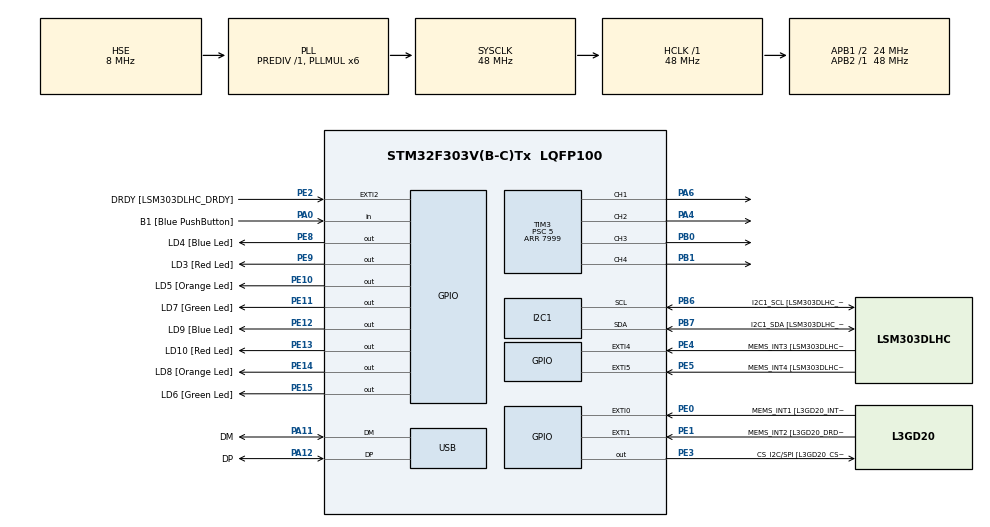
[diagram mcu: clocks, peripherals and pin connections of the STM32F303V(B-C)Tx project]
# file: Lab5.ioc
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I2C1.Timing=0x00201D2B
I2C1.Timing-I2C=0x2000090E
Mcu.Family=STM32F3
Mcu.Name=STM32F303V(B-C)Tx
Mcu.Package=LQFP100
NVIC.PriorityGroup=NVIC_PRIORITYGROUP_0
NVIC.TIM3_IRQn=true\:0\:0\:false\:false\:true\:true\:true\:true
PA0.GPIO_Label=B1 [Blue PushButton]
PA0.Signal=GPIO_Input
PA11.GPIO_Label=DM
PA11.Mode=Device
PA11.Signal=USB_DM
PA12.GPIO_Label=DP
PA12.Mode=Device
PA12.Signal=USB_DP
PA13.GPIO_Label=SWDIO
PA13.Mode=Serial_Wire
PA13.Signal=SYS_JTMS-SWDIO
PA14.GPIO_Label=SWCLK
PA14.Mode=Serial_Wire
PA14.Signal=SYS_JTCK-SWCLK
PA4.Signal=S_TIM3_CH2
PA5.GPIO_Label=SPI1_SCK [L3GD20_SCL/SPC]
PA5.Signal=SPI1_SCK
PA6.Signal=S_TIM3_CH1
PA7.GPIO_Label=SPI1_MISO [L3GD20_SDA/SDI/SDO]
PA7.Signal=SPI1_MOSI
PB0.Signal=S_TIM3_CH3
PB1.Signal=S_TIM3_CH4
PB3.GPIO_Label=SWO
PB3.Signal=SYS_JTDO-TRACESWO
PB6.GPIO_Label=I2C1_SCL [LSM303DLHC_SCL]
PB6.GPIO_Pu=GPIO_PULLUP
PB6.Mode=I2C
PB6.Signal=I2C1_SCL
PB7.GPIO_Label=I2C1_SDA [LSM303DLHC_SDA]
PB7.GPIO_Pu=GPIO_PULLUP
PB7.Mode=I2C
PB7.Signal=I2C1_SDA
PC14-OSC32_IN.GPIO_Label=OSC32_IN
PC14-OSC32_IN.Signal=RCC_OSC32_IN
PC15-OSC32_OUT.GPIO_Label=OSC32_OUT
PC15-OSC32_OUT.Signal=RCC_OSC32_OUT
PE0.GPIO_Label=MEMS_INT1 [L3GD20_INT1]
PE0.GPIO_ModeDefaultEXTI=GPIO_MODE_EVT_RISING
PE0.Signal=GPXTI0
PE1.GPIO_Label=MEMS_INT2 [L3GD20_DRDY/INT2]
PE1.GPIO_ModeDefaultEXTI=GPIO_MODE_EVT_RISING
PE1.Signal=GPXTI1
PE10.GPIO_Label=LD5 [Orange Led]
PE10.Signal=GPIO_Output
PE11.GPIO_Label=LD7 [Green Led]
PE11.Signal=GPIO_Output
PE12.GPIO_Label=LD9 [Blue Led]
PE12.Signal=GPIO_Output
PE13.GPIO_Label=LD10 [Red Led]
PE13.Signal=GPIO_Output
PE14.GPIO_Label=LD8 [Orange Led]
PE14.Signal=GPIO_Output
PE15.GPIO_Label=LD6 [Green Led]
PE15.Signal=GPIO_Output
PE2.GPIO_Label=DRDY [LSM303DLHC_DRDY]
PE2.GPIO_ModeDefaultEXTI=GPIO_MODE_EVT_RISING
PE2.Signal=GPXTI2
PE3.GPIO_Label=CS_I2C/SPI [L3GD20_CS_I2C/SPI]
PE3.Signal=GPIO_Output
PE4.GPIO_Label=MEMS_INT3 [LSM303DLHC_INT1]
PE4.GPIO_ModeDefaultEXTI=GPIO_MODE_EVT_RISING
PE4.Signal=GPXTI4
PE5.GPIO_Label=MEMS_INT4 [LSM303DLHC_INT2]
PE5.GPIO_ModeDefaultEXTI=GPIO_MODE_EVT_RISING
PE5.Signal=GPXTI5
PE8.GPIO_Label=LD4 [Blue Led]
PE8.Signal=GPIO_Output
PE9.GPIO_Label=LD3 [Red Led]
PE9.Signal=GPIO_Output
PF0-OSC_IN.GPIO_Label=OSC_IN
PF0-OSC_IN.Mode=HSE-External-Clock-Source
PF0-OSC_IN.Signal=RCC_OSC_IN
PF1-OSC_OUT.GPIO_Label=OSC_OUT
PF1-OSC_OUT.Signal=RCC_OSC_OUT
ProjectManager.HeapSize=0x200
ProjectManager.StackSize=0x400
ProjectManager.TargetToolchain=CMake
RCC.AHBFreq_Value=48000000
RCC.APB1CLKDivider=RCC_HCLK_DIV2
RCC.APB1Freq_Value=24000000
RCC.APB1TimFreq_Value=48000000
RCC.APB2Freq_Value=48000000
RCC.APB2TimFreq_Value=48000000
RCC.CortexFreq_Value=48000000
RCC.HCLKFreq_Value=48000000
RCC.HSE_VALUE=8000000
RCC.HSI_VALUE=8000000
RCC.LSE_VALUE=32768
RCC.PLLMUL=RCC_PLL_MUL6
RCC.SYSCLKFreq_VALUE=48000000
RCC.SYSCLKSourceVirtual=RCC_SYSCLKSOURCE_PLLCLK
RCC.USBFreq_Value=48000000
SH.S_TIM3_CH1.0=TIM3_CH1,PWM Generation1 CH1
SH.S_TIM3_CH2.0=TIM3_CH2,PWM Generation2 CH2
SH.S_TIM3_CH3.0=TIM3_CH3,PWM Generation3 CH3
SH.S_TIM3_CH4.0=TIM3_CH4,PWM Generation4 CH4
TIM3.Channel-PWM\ Generation1\ CH1=TIM_CHANNEL_1
TIM3.Channel-PWM\ Generation2\ CH2=TIM_CHANNEL_2
TIM3.Channel-PWM\ Generation3\ CH3=TIM_CHANNEL_3
TIM3.Channel-PWM\ Generation4\ CH4=TIM_CHANNEL_4
TIM3.Period=7999
TIM3.Prescaler=5
board=STM32F3DISCOVERY

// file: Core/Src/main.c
/* USER CODE BEGIN Header */
/**
  ******************************************************************************
  * @file           : main.c
  * @brief          : Lab 5 Task 1 - LED Brightness Control using PWM
  *
  * Lab 5 Task 1: LED Brightness Control
  * Objective: Use PWM to fade an LED in and out
  *
  * Hardware Setup:
  * - LED Anode → PA6 (TIM3_CH1) through 100-220Ω resistor
  * - LED Cathode → GND
  *
  * PWM Configuration:
  * - Frequency: ~1.5 kHz (above flicker perception)
  * - Prescaler: 5
  * - Period (ARR): 7999
  * - Duty Cycle Range: 0-7999
  *
  ******************************************************************************
  */
/* USER CODE END Header */

#include "main.h"

/* USER CODE BEGIN Includes */
#include <stdio.h>
#include <string.h>

/* USER CODE END Includes */

/* USER CODE BEGIN PD */

// PWM Parameters
#define PWM_MAX_VALUE    7999    // Maximum PWM value (ARR value)
#define PWM_MIN_VALUE    0       // Minimum PWM value
#define FADE_STEP        50      // Step size for fading (adjust for smooth fade)
#define FADE_DELAY_MS    5       // Delay between steps in milliseconds

// LED Configuration
#define LED_CHANNEL_RED    TIM_CHANNEL_1  // PA6
#define LED_CHANNEL_GREEN  TIM_CHANNEL_2  // PA7
#define LED_CHANNEL_BLUE   TIM_CHANNEL_3  // PB0

/* USER CODE END PD */

I2C_HandleTypeDef hi2c1;

TIM_HandleTypeDef htim3;

PCD_HandleTypeDef hpcd_USB_FS;

/* USER CODE BEGIN PV */

// LED Fading Control Variables
static uint16_t led_pwm_value = PWM_MIN_VALUE;
static int16_t fade_direction = 1;  // 1 = increasing, -1 = decreasing

/* USER CODE END PV */

void SystemClock_Config(void);
static void MX_GPIO_Init(void);
static void MX_I2C1_Init(void);
static void MX_TIM3_Init(void);
static void MX_USB_PCD_Init(void);

/* USER CODE BEGIN PFP */

/**
 * @brief Initialize LED PWM
 * @retval None
 */
void LED_PWM_Init(void);

/**
 * @brief Fade LED in and out (Polling Method)
 * @retval None
 */
void LED_Fade_Polling(void);

/**
 * @brief Fade LED in and out (Interrupt Method)
 * @retval None
 */
void LED_Fade_Interrupt(void);

/**
 * @brief Set LED brightness (0-7999)
 * @param value: PWM value (0 = off, 7999 = full brightness)
 * @retval None
 */
void LED_SetBrightness(uint16_t value);

/* USER CODE END PFP */

/* USER CODE BEGIN 0 */

/**
 * @brief Initialize LED PWM
 * Start PWM generation on LED channel (PA6 - TIM3 Channel 1)
 */
void LED_PWM_Init(void)
{
    // Start PWM on Channel 1 (Red LED on PA6)
    HAL_TIM_PWM_Start(&htim3, LED_CHANNEL_RED);

    // Optional: Start additional LED channels for RGB control
    HAL_TIM_PWM_Start(&htim3, LED_CHANNEL_GREEN);
    HAL_TIM_PWM_Start(&htim3, LED_CHANNEL_BLUE);

    // Initialize with minimum brightness
    LED_SetBrightness(PWM_MIN_VALUE);
}

/**
 * @brief Set LED brightness using PWM
 * @param value: PWM value (0-7999)
 */
void LED_SetBrightness(uint16_t value)
{
    // Clamp value to valid range
    if (value > PWM_MAX_VALUE)
        value = PWM_MAX_VALUE;

    // Update the PWM compare register for Channel 1
    __HAL_TIM_SET_COMPARE(&htim3, LED_CHANNEL_RED, value);
}

/**
 * @brief Fade LED in and out using polling method
 * This method uses blocking delays and simple loops
 */
void LED_Fade_Polling(void)
{
    // Fade IN: Increase brightness from 0% to 100%
    for (uint16_t pwm = PWM_MIN_VALUE; pwm <= PWM_MAX_VALUE; pwm += FADE_STEP)
    {
        LED_SetBrightness(pwm);
        HAL_Delay(FADE_DELAY_MS);
    }

    // Ensure we reach maximum
    LED_SetBrightness(PWM_MAX_VALUE);
    HAL_Delay(100);  // Hold at max brightness for 100ms

    // Fade OUT: Decrease brightness from 100% to 0%
    for (uint16_t pwm = PWM_MAX_VALUE; pwm >= PWM_MIN_VALUE; pwm -= FADE_STEP)
    {
        LED_SetBrightness(pwm);
        HAL_Delay(FADE_DELAY_MS);
    }

    // Ensure we reach minimum
    LED_SetBrightness(PWM_MIN_VALUE);
    HAL_Delay(100);  // Hold at min brightness for 100ms
}

/**
 * @brief Fade LED in and out using interrupt method
 * This method uses timer interrupts for non-blocking operation
 */
void LED_Fade_Interrupt(void)
{
    // Start the timer with interrupt
    HAL_TIM_Base_Start_IT(&htim3);

    // The actual fading happens in the callback:
    // HAL_TIM_PeriodElapsedCallback() below
}

/* USER CODE END 0 */

int main(void)
{

  /* MCU Configuration--------------------------------------------------------*/

  /* Reset of all peripherals, Initializes the Flash interface and the Systick. */
  HAL_Init();

  /* Configure the system clock */
  SystemClock_Config();

  /* Initialize all configured peripherals */
  MX_GPIO_Init();
  MX_I2C1_Init();
  MX_TIM3_Init();
  MX_USB_PCD_Init();

  /* USER CODE BEGIN 2 */

  // Initialize LED PWM
  LED_PWM_Init();

  /* USER CODE END 2 */

  /* Infinite loop */
  while (1)
  {

    /* USER CODE BEGIN 3 */

    // METHOD 1: Polling-based fading (Simple, blocking)
    LED_Fade_Polling();

    // Optional: Add delay between fade cycles
    HAL_Delay(500);

    // METHOD 2: Uncomment below for interrupt-based fading
    // Uncomment the HAL_TIM_Base_Start_IT(&htim3); in LED_Fade_Interrupt()
    // LED_Fade_Interrupt();
    // while(1) { /* Fading happens in background */ }

  }
  /* USER CODE END 3 */
}

void SystemClock_Config(void)
{
  RCC_OscInitTypeDef RCC_OscInitStruct = {0};
  RCC_ClkInitTypeDef RCC_ClkInitStruct = {0};
  RCC_PeriphCLKInitTypeDef PeriphClkInit = {0};

  /** Initializes the RCC Oscillators according to the specified parameters
  * in the RCC_OscInitTypeDef structure.
  */
  RCC_OscInitStruct.OscillatorType = RCC_OSCILLATORTYPE_HSI|RCC_OSCILLATORTYPE_HSE;
  RCC_OscInitStruct.HSEState = RCC_HSE_BYPASS;
  RCC_OscInitStruct.HSEPredivValue = RCC_HSE_PREDIV_DIV1;
  RCC_OscInitStruct.HSIState = RCC_HSI_ON;
  RCC_OscInitStruct.HSICalibrationValue = RCC_HSICALIBRATION_DEFAULT;
  RCC_OscInitStruct.PLL.PLLState = RCC_PLL_ON;
  RCC_OscInitStruct.PLL.PLLSource = RCC_PLLSOURCE_HSE;
  RCC_OscInitStruct.PLL.PLLMUL = RCC_PLL_MUL6;
  if (HAL_RCC_OscConfig(&RCC_OscInitStruct) != HAL_OK)
  {
    Error_Handler();
  }

  /** Initializes the CPU, AHB and APB buses clocks
  */
  RCC_ClkInitStruct.ClockType = RCC_CLOCKTYPE_HCLK|RCC_CLOCKTYPE_SYSCLK
                              |RCC_CLOCKTYPE_PCLK1|RCC_CLOCKTYPE_PCLK2;
  RCC_ClkInitStruct.SYSCLKSource = RCC_SYSCLKSOURCE_PLLCLK;
  RCC_ClkInitStruct.AHBCLKDivider = RCC_SYSCLK_DIV1;
  RCC_ClkInitStruct.APB1CLKDivider = RCC_HCLK_DIV2;
  RCC_ClkInitStruct.APB2CLKDivider = RCC_HCLK_DIV1;

  if (HAL_RCC_ClockConfig(&RCC_ClkInitStruct, FLASH_LATENCY_1) != HAL_OK)
  {
    Error_Handler();
  }
  PeriphClkInit.PeriphClockSelection = RCC_PERIPHCLK_USB|RCC_PERIPHCLK_I2C1;
  PeriphClkInit.I2c1ClockSelection = RCC_I2C1CLKSOURCE_HSI;
  PeriphClkInit.USBClockSelection = RCC_USBCLKSOURCE_PLL;
  if (HAL_RCCEx_PeriphCLKConfig(&PeriphClkInit) != HAL_OK)
  {
    Error_Handler();
  }
}

static void MX_I2C1_Init(void)
{

  hi2c1.Instance = I2C1;
  hi2c1.Init.Timing = 0x2000090E;
  hi2c1.Init.OwnAddress1 = 0;
  hi2c1.Init.AddressingMode = I2C_ADDRESSINGMODE_7BIT;
  hi2c1.Init.DualAddressMode = I2C_DUALADDRESS_DISABLE;
  hi2c1.Init.OwnAddress2 = 0;
  hi2c1.Init.OwnAddress2Masks = I2C_OA2_NOMASK;
  hi2c1.Init.GeneralCallMode = I2C_GENERALCALL_DISABLE;
  hi2c1.Init.NoStretchMode = I2C_NOSTRETCH_DISABLE;
  if (HAL_I2C_Init(&hi2c1) != HAL_OK)
  {
    Error_Handler();
  }

  /** Configure Analogue filter
  */
  if (HAL_I2CEx_ConfigAnalogFilter(&hi2c1, I2C_ANALOGFILTER_ENABLE) != HAL_OK)
  {
    Error_Handler();
  }

  /** Configure Digital filter
  */
  if (HAL_I2CEx_ConfigDigitalFilter(&hi2c1, 0) != HAL_OK)
  {
    Error_Handler();
  }

}

static void MX_TIM3_Init(void)
{

  TIM_MasterConfigTypeDef sMasterConfig = {0};
  TIM_OC_InitTypeDef sConfigOC = {0};

  htim3.Instance = TIM3;
  htim3.Init.Prescaler = 5;
  htim3.Init.CounterMode = TIM_COUNTERMODE_UP;
  htim3.Init.Period = 7999;
  htim3.Init.ClockDivision = TIM_CLOCKDIVISION_DIV1;
  htim3.Init.AutoReloadPreload = TIM_AUTORELOAD_PRELOAD_DISABLE;
  if (HAL_TIM_PWM_Init(&htim3) != HAL_OK)
  {
    Error_Handler();
  }
  sMasterConfig.MasterOutputTrigger = TIM_TRGO_RESET;
  sMasterConfig.MasterSlaveMode = TIM_MASTERSLAVEMODE_DISABLE;
  if (HAL_TIMEx_MasterConfigSynchronization(&htim3, &sMasterConfig) != HAL_OK)
  {
    Error_Handler();
  }
  sConfigOC.OCMode = TIM_OCMODE_PWM1;
  sConfigOC.Pulse = 0;
  sConfigOC.OCPolarity = TIM_OCPOLARITY_HIGH;
  sConfigOC.OCFastMode = TIM_OCFAST_DISABLE;
  if (HAL_TIM_PWM_ConfigChannel(&htim3, &sConfigOC, TIM_CHANNEL_1) != HAL_OK)
  {
    Error_Handler();
  }
  if (HAL_TIM_PWM_ConfigChannel(&htim3, &sConfigOC, TIM_CHANNEL_2) != HAL_OK)
  {
    Error_Handler();
  }
  if (HAL_TIM_PWM_ConfigChannel(&htim3, &sConfigOC, TIM_CHANNEL_3) != HAL_OK)
  {
    Error_Handler();
  }
  if (HAL_TIM_PWM_ConfigChannel(&htim3, &sConfigOC, TIM_CHANNEL_4) != HAL_OK)
  {
    Error_Handler();
  }
  HAL_TIM_MspPostInit(&htim3);

}

static void MX_USB_PCD_Init(void)
{

  hpcd_USB_FS.Instance = USB;
  hpcd_USB_FS.Init.dev_endpoints = 8;
  hpcd_USB_FS.Init.speed = PCD_SPEED_FULL;
  hpcd_USB_FS.Init.phy_itface = PCD_PHY_EMBEDDED;
  hpcd_USB_FS.Init.low_power_enable = DISABLE;
  hpcd_USB_FS.Init.battery_charging_enable = DISABLE;
  if (HAL_PCD_Init(&hpcd_USB_FS) != HAL_OK)
  {
    Error_Handler();
  }

}

static void MX_GPIO_Init(void)
{
  GPIO_InitTypeDef GPIO_InitStruct = {0};

  /* GPIO Ports Clock Enable */
  __HAL_RCC_GPIOE_CLK_ENABLE();
  __HAL_RCC_GPIOC_CLK_ENABLE();
  __HAL_RCC_GPIOF_CLK_ENABLE();
  __HAL_RCC_GPIOA_CLK_ENABLE();
  __HAL_RCC_GPIOB_CLK_ENABLE();

  /*Configure GPIO pin Output Level */
  HAL_GPIO_WritePin(GPIOE, CS_I2C_SPI_Pin|LD4_Pin|LD3_Pin|LD5_Pin
                          |LD7_Pin|LD9_Pin|LD10_Pin|LD8_Pin
                          |LD6_Pin, GPIO_PIN_RESET);

  /*Configure GPIO pins : DRDY_Pin MEMS_INT3_Pin MEMS_INT4_Pin MEMS_INT1_Pin
                           MEMS_INT2_Pin */
  GPIO_InitStruct.Pin = DRDY_Pin|MEMS_INT3_Pin|MEMS_INT4_Pin|MEMS_INT1_Pin
                          |MEMS_INT2_Pin;
  GPIO_InitStruct.Mode = GPIO_MODE_EVT_RISING;
  GPIO_InitStruct.Pull = GPIO_NOPULL;
  HAL_GPIO_Init(GPIOE, &GPIO_InitStruct);

  /*Configure GPIO pins : CS_I2C_SPI_Pin LD4_Pin LD3_Pin LD5_Pin
                           LD7_Pin LD9_Pin LD10_Pin LD8_Pin
                           LD6_Pin */
  GPIO_InitStruct.Pin = CS_I2C_SPI_Pin|LD4_Pin|LD3_Pin|LD5_Pin
                          |LD7_Pin|LD9_Pin|LD10_Pin|LD8_Pin
                          |LD6_Pin;
  GPIO_InitStruct.Mode = GPIO_MODE_OUTPUT_PP;
  GPIO_InitStruct.Pull = GPIO_NOPULL;
  GPIO_InitStruct.Speed = GPIO_SPEED_FREQ_LOW;
  HAL_GPIO_Init(GPIOE, &GPIO_InitStruct);

  /*Configure GPIO pin : B1_Pin */
  GPIO_InitStruct.Pin = B1_Pin;
  GPIO_InitStruct.Mode = GPIO_MODE_INPUT;
  GPIO_InitStruct.Pull = GPIO_NOPULL;
  HAL_GPIO_Init(B1_GPIO_Port, &GPIO_InitStruct);

  /*Configure GPIO pins : SPI1_SCK_Pin SPI1_MISO_Pin */
  GPIO_InitStruct.Pin = SPI1_SCK_Pin|SPI1_MISO_Pin;
  GPIO_InitStruct.Mode = GPIO_MODE_AF_PP;
  GPIO_InitStruct.Pull = GPIO_NOPULL;
  GPIO_InitStruct.Speed = GPIO_SPEED_FREQ_HIGH;
  GPIO_InitStruct.Alternate = GPIO_AF5_SPI1;
  HAL_GPIO_Init(GPIOA, &GPIO_InitStruct);

}

/* USER CODE BEGIN 4 */

/**
 * @brief Timer Period Elapsed Callback (for interrupt-based method)
 * This function is called every time the timer overflows
 */
void HAL_TIM_PeriodElapsedCallback(TIM_HandleTypeDef *htim)
{
    // Check if this is TIM3
    if (htim->Instance == TIM3)
    {
        // Update PWM value
        led_pwm_value += (fade_direction * FADE_STEP);

        // Check boundaries and reverse direction
        if (led_pwm_value >= PWM_MAX_VALUE)
        {
            led_pwm_value = PWM_MAX_VALUE;
            fade_direction = -1;  // Start fading out
        }
        else if (led_pwm_value <= PWM_MIN_VALUE)
        {
            led_pwm_value = PWM_MIN_VALUE;
            fade_direction = 1;   // Start fading in
        }

        // Update the PWM compare register
        LED_SetBrightness(led_pwm_value);
    }
}

/* USER CODE END 4 */

void Error_Handler(void)
{
  __disable_irq();
  while (1)
  {
  }
}
